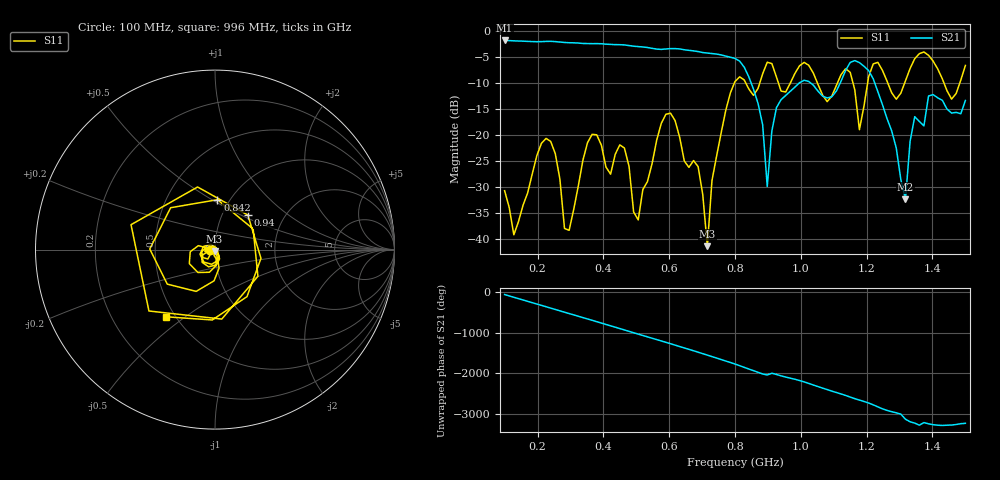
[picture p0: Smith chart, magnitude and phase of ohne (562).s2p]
! NanoVNA-App
! Date: 2025-09-25 14:25:10
! Start: 100MHz Stop: 1,5GHz Points: 101
! S-Parameter data: F S11 S21 S12 S22
# Hz S RI R 50
!  Frequency  S11_Real  S11_Imag  S21_Real  S21_Imag  S12_Real  S12_Imag  S22_Real  S22_Imag
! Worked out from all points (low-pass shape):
!   101 points, 100 MHz to 1.5 GHz, reference 50 ohm
!   highest |S21| = -1.79 dB at 100 MHz (marker M1); lowest = -32.3 dB at 1.318 GHz (marker M2)
!   |S21| within 3 dB of the highest: start of sweep to 771.5 MHz
!   lowest |S11| = -41.3 dB at 716 MHz (marker M3), VSWR 1.02, Z = 49.8 - j0.831 ohm
!   |S11| at or under -10 dB: start of sweep to 797.9 MHz; 833.1 MHz to 875 MHz (41.96 MHz wide, 4.91 % of centre); 1.051 GHz to 1.111 GHz (60.32 MHz wide, 5.58 % of centre)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
!   S12 and S22 are empty: the file has one direction only
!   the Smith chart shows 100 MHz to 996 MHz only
!   S11 on the Smith chart (normalised r, x): 100 MHz: 0.94, -0.01; 842 MHz: 0.88, +0.53; 940 MHz: 1.32, +0.55; 996 MHz: 0.44, -0.42
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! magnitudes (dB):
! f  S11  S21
! 100 MHz  -30.6  -1.8
! 128 MHz  -39.1  -1.9
! 226 MHz  -20.6  -2.0
! 296 MHz  -38.2  -2.2
! 338 MHz  -24.8  -2.4
! 464 MHz  -22.4  -2.7
! 506 MHz  -36.2  -3.0
! 576 MHz  -17.7  -3.5
! 688 MHz  -26.0  -3.9
! 716 MHz  -41.3  -4.2
! 800 MHz  -9.7  -5.3
! 842 MHz  -11.1  -8.8
! 898 MHz  -6.0  -29.8
! 940 MHz  -11.5  -13.2
! 996 MHz  -6.7  -9.9
! 1.038 GHz  -8.1  -10.4
! 1.178 GHz  -18.9  -6.0
! 1.22 GHz  -6.3  -9.2
! 1.276 GHz  -11.8  -19.1
! 1.318 GHz  -9.5  -32.3
! 1.346 GHz  -5.3  -16.4
! 1.5 GHz  -6.6  -13.3
